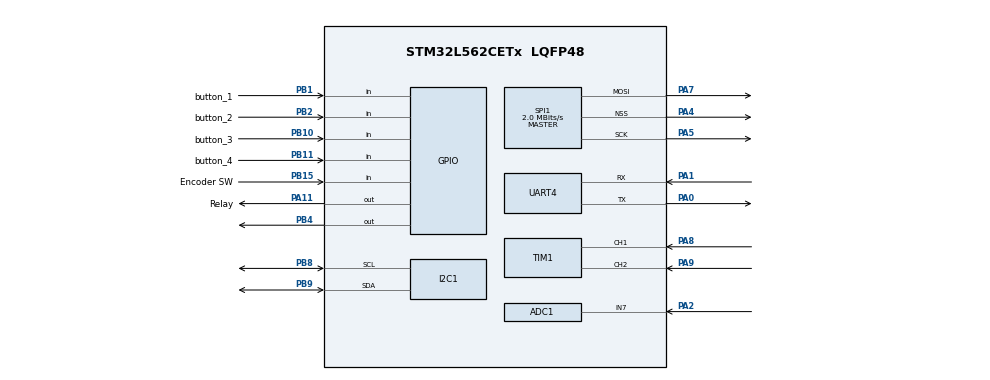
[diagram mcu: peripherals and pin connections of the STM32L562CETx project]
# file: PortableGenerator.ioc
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ADC1.Channel-2\#ChannelRegularConversion=ADC_CHANNEL_7
ADC1.ContinuousConvMode=ENABLE
ADC1.NbrOfConversion=1
ADC1.NbrOfConversionFlag=1
ADC1.OffsetNumber-2\#ChannelRegularConversion=ADC_OFFSET_NONE
ADC1.Overrun=ADC_OVR_DATA_OVERWRITTEN
ADC1.Rank-2\#ChannelRegularConversion=1
ADC1.SamplingTime-2\#ChannelRegularConversion=ADC_SAMPLETIME_2CYCLES_5
ADC1.master=1
Mcu.Family=STM32L5
Mcu.Name=STM32L562CETx
Mcu.Package=LQFP48
NVIC.ADC1_2_IRQn=true\:0\:0\:false\:false\:true\:true\:true\:true
NVIC.PriorityGroup=NVIC_PRIORITYGROUP_3
PA0.Mode=Asynchronous
PA0.Signal=UART4_TX
PA1.Mode=Asynchronous
PA1.Signal=UART4_RX
PA11.GPIO_Label=Relay
PA11.Signal=GPIO_Output
PA13\ (JTMS/SWDIO).Mode=JTAG_4_pins
PA13\ (JTMS/SWDIO).Signal=DEBUG_JTMS-SWDIO
PA14\ (JTCK/SWCLK).Mode=JTAG_4_pins
PA14\ (JTCK/SWCLK).Signal=DEBUG_JTCK-SWCLK
PA15\ (JTDI).Mode=JTAG_4_pins
PA15\ (JTDI).Signal=DEBUG_JTDI
PA2.Signal=ADCx_IN7
PA4.Mode=NSS_Signal_Hard_Output
PA4.Signal=SPI1_NSS
PA5.Mode=TX_Only_Simplex_Unidirect_Master
PA5.Signal=SPI1_SCK
PA7.Mode=TX_Only_Simplex_Unidirect_Master
PA7.Signal=SPI1_MOSI
PA8.Signal=S_TIM1_CH1
PA9.Signal=S_TIM1_CH2
PB1.GPIO_Label=button_1
PB1.Signal=GPIO_Input
PB10.GPIO_Label=button_3
PB10.Signal=GPIO_Input
PB11.GPIO_Label=button_4
PB11.Signal=GPIO_Input
PB15.GPIO_Label=Encoder SW
PB15.Signal=GPIO_Input
PB2.GPIO_Label=button_2
PB2.Signal=GPIO_Input
PB3\ (JTDO/TRACESWO).Mode=JTAG_4_pins
PB3\ (JTDO/TRACESWO).Signal=DEBUG_JTDO-SWO
PB4\ (NJTRST).Signal=GPIO_Output
PB8.Mode=I2C
PB8.Signal=I2C1_SCL
PB9.Mode=I2C
PB9.Signal=I2C1_SDA
PH0-OSC_IN\ (PH0).Mode=HSE-External-Oscillator
PH0-OSC_IN\ (PH0).Signal=RCC_OSC_IN
PH1-OSC_OUT\ (PH1).Mode=HSE-External-Oscillator
PH1-OSC_OUT\ (PH1).Signal=RCC_OSC_OUT
ProjectManager.HeapSize=0x200
ProjectManager.StackSize=0x400
ProjectManager.TargetToolchain=STM32CubeIDE
RCC.ADCFreq_Value=32000000
RCC.HSE_VALUE=16000000
RCC.HSI48_VALUE=48000000
RCC.HSI_VALUE=16000000
RCC.LSE_VALUE=32768
RCC.MSI_VALUE=4000000
RCC.PLLSAI1N=16
RCC.USBFreq_Value=32000000
RCC.VCOOutputFreq_Value=32000000
SH.ADCx_IN7.0=ADC1_IN7,IN7-Single-Ended
SH.S_TIM1_CH1.0=TIM1_CH1,Encoder_Interface
SH.S_TIM1_CH2.0=TIM1_CH2,Encoder_Interface
SPI1.CLKPolarity=SPI_POLARITY_HIGH
SPI1.CalculateBaudRate=2.0 MBits/s
SPI1.DataSize=SPI_DATASIZE_16BIT
SPI1.Direction=SPI_DIRECTION_2LINES
SPI1.Mode=SPI_MODE_MASTER
SPI1.VirtualNSS=VM_NSSHARD
SPI1.VirtualType=VM_MASTER
TIM1.EncoderMode=TIM_ENCODERMODE_TI12
TIM1.IC1Polarity=TIM_ICPOLARITY_FALLING
TIM1.IC2Polarity=TIM_ICPOLARITY_FALLING
board=custom

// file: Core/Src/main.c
/* USER CODE BEGIN Header */
/**
 ******************************************************************************
 * @file           : main.c
 * @brief          : Main program body
 ******************************************************************************
 * @attention
 *
 * Copyright (c) 2023 STMicroelectronics.
 * All rights reserved.
 *
 * This software is licensed under terms that can be found in the LICENSE file
 * in the root directory of this software component.
 * If no LICENSE file comes with this software, it is provided AS-IS.
 *
 ******************************************************************************
 */
/* USER CODE END Header */
#include "main.h"

/* USER CODE BEGIN Includes */
#include <string.h>
#include <stdio.h>
#include <stdint.h>
#include <math.h>
#include "liquidcrystal_i2c.h"
#include "AD9833.h"
#include "TPL0102.h"
/* USER CODE END Includes */

ADC_HandleTypeDef hadc1;

I2C_HandleTypeDef hi2c1;

SPI_HandleTypeDef hspi1;

TIM_HandleTypeDef htim1;

UART_HandleTypeDef huart4;

/* USER CODE BEGIN PV */

// Impedance switch state
uint8_t imp_currentstate = 0; // Track state of current impedance output mode (0 = 50 ohm , 1 = HighZ )

// Rotary encoder
uint32_t encoderValueBase = 0; // Track state of rotary encoder
uint32_t encoderValueConverted = 0; // In case rotary encoder increases/decreases by any other value than 1
uint32_t encoderValueAmplitude; //Tracking state of rotary encoder for amplitude adjustments
uint32_t encoderValueFrequency; // Tracking state of rotary encoder for frequency adjustments
int16_t encoderValueOffset; // Tracking state of rotary encoder for offset adjustments

// Rotary encoder pushbutton
// Impedance switch state
uint8_t re_currentstate = 0; // Track state of current setting (Amplitude, offset, frequency)

// AD9833 DDS

uint8_t wv_currentstate = 0; // Track state of current waveform (0 = SINE, 1 = TRIANGLE, 2= SQUARE)

// Digital potentiometer
uint8_t res0 = 128; // Resistance for channel 0 (offset adjustment)
uint8_t res1 = 128; // Resistance for channel 1 (amplitude adjustment)

/* USER CODE END PV */

void SystemClock_Config(void);
static void MX_GPIO_Init(void);
static void MX_TIM1_Init(void);
static void MX_I2C1_Init(void);
static void MX_UART4_Init(void);
static void MX_SPI1_Init(void);
static void MX_ADC1_Init(void);

/* USER CODE BEGIN 0 */

// ADC
static volatile uint16_t adc_value = 0;
float battery_voltage;

	void HAL_ADC_ConvCpltCallback(ADC_HandleTypeDef* hadc)
	{
		adc_value = HAL_ADC_GetValue(&hadc1);
	}

	float adc_voltage(int adc_value)
	{
		float reference = 3.0;
		float adc_voltage = (adc_value/4095)*reference;
		return adc_voltage;
	}

// Rotary encoder

	void HAL_TIM_IC_CaptureCallback(TIM_HandleTypeDef *htim)
	{
		encoderValueBase = __HAL_TIM_GET_COUNTER(&htim1);
	}

// Impedance switch toggle state function
	void ImpChangeState(void)
	{
		imp_currentstate = 1-imp_currentstate;

		if (imp_currentstate == 0)
				{
					HD44780_SetCursor(11,1);
					HD44780_PrintStr("M:HighZ");
				}
				else
				{
					HD44780_SetCursor(13,1);
					HD44780_PrintStr("M:50Ω");
				}
	}

	// Waveform toggle switch  state function
	void WaveformChangeState(void)
	{
		wv_currentstate = (wv_currentstate+1)% 3;

		switch(wv_currentstate)
		{
		case 0:
			AD9833_SetWaveform(AD9833_WAVEFORM_SINE);
			HD44780_SetCursor(0,1);
			HD44780_PrintStr("SINE");
			break;

		case 1:
			AD9833_SetWaveform(AD9833_WAVEFORM_TRIANGLE);
			HD44780_SetCursor(0,1);
			HD44780_PrintStr("TRIANGLE");
			break;
		case 2:
			AD9833_SetWaveform(AD9833_WAVEFORM_SQUARE);
			HD44780_SetCursor(0,1);
			HD44780_PrintStr("SQUARE");
			break;

		}
	}

	// Amplitude adjustment

	// Offset adjustment

	// Rotary encoder pushbutton toggle switch function

/* USER CODE END 0 */

int main(void)
{

  /* MCU Configuration--------------------------------------------------------*/

  /* Reset of all peripherals, Initializes the Flash interface and the Systick. */
  HAL_Init();

  /* Configure the system clock */
  SystemClock_Config();

  /* Initialize all configured peripherals */
  MX_GPIO_Init();
  MX_TIM1_Init();
  MX_I2C1_Init();
  MX_UART4_Init();
  MX_SPI1_Init();
  MX_ADC1_Init();
  /* USER CODE BEGIN 2 */

  // LCD Display initialization
  HD44780_Init(2);

  // Rotary encoder initialization
  HAL_TIM_Encoder_Start_IT(&htim1, TIM_CHANNEL_ALL);

  // ADC initialization
  HAL_ADC_Start_IT(&hadc1);

  // DDS initialization
  AD9833_Init();

  // Digital potentiometer initialization
  TPL0102_Init(&hi2c1);

	// Left and right button frequency, amplitude & offset
// Frequency

  /* USER CODE END 2 */

  /* Infinite loop */
  /* USER CODE BEGIN WHILE */
	while (1)
	{

	// Impedance switch
	if (HAL_GPIO_ReadPin(GPIOB, GPIO_PIN_11)==GPIO_PIN_RESET)
	{
		HAL_GPIO_TogglePin(GPIOA, GPIO_PIN_11);
		ImpChangeState();
		HAL_Delay(500);
	}

	// Battery voltage measurement & low battery warning
	battery_voltage = adc_voltage(adc_value);

	if (battery_voltage <= 3.5)
	{
		HAL_GPIO_WritePin(GPIOB, GPIO_PIN_4, GPIO_PIN_SET);

		HAL_Delay(1000);
	}

	else
	{
		HAL_GPIO_WritePin(GPIOB, GPIO_PIN_4, GPIO_PIN_RESET);
		HAL_Delay(1000);
	}

							// DDS
	// DDS frequency & waveform
	AD9833_SetFrequency(1000);

	// DDS waveform switch
	if(HAL_GPIO_ReadPin(GPIOB,GPIO_PIN_10)==GPIO_PIN_RESET)
	{
		WaveformChangeState();
		HAL_Delay(500);
	}

						// Digital potentiometer
	//Offset adjustment

	TPL0102_Write(&hi2c1, CHANNEL_0, res0);

	//Amplitude adjustment
	TPL0102_Write(&hi2c1, CHANNEL_1, res1);

						// Rotary encoder

    /* USER CODE END WHILE */

	}
}

void SystemClock_Config(void)
{
  RCC_OscInitTypeDef RCC_OscInitStruct = {0};
  RCC_ClkInitTypeDef RCC_ClkInitStruct = {0};

  /** Configure the main internal regulator output voltage
  */
  if (HAL_PWREx_ControlVoltageScaling(PWR_REGULATOR_VOLTAGE_SCALE2) != HAL_OK)
  {
    Error_Handler();
  }

  /** Initializes the RCC Oscillators according to the specified parameters
  * in the RCC_OscInitTypeDef structure.
  */
  RCC_OscInitStruct.OscillatorType = RCC_OSCILLATORTYPE_MSI;
  RCC_OscInitStruct.MSIState = RCC_MSI_ON;
  RCC_OscInitStruct.MSICalibrationValue = RCC_MSICALIBRATION_DEFAULT;
  RCC_OscInitStruct.MSIClockRange = RCC_MSIRANGE_6;
  RCC_OscInitStruct.PLL.PLLState = RCC_PLL_NONE;
  if (HAL_RCC_OscConfig(&RCC_OscInitStruct) != HAL_OK)
  {
    Error_Handler();
  }

  /** Initializes the CPU, AHB and APB buses clocks
  */
  RCC_ClkInitStruct.ClockType = RCC_CLOCKTYPE_HCLK|RCC_CLOCKTYPE_SYSCLK
                              |RCC_CLOCKTYPE_PCLK1|RCC_CLOCKTYPE_PCLK2;
  RCC_ClkInitStruct.SYSCLKSource = RCC_SYSCLKSOURCE_MSI;
  RCC_ClkInitStruct.AHBCLKDivider = RCC_SYSCLK_DIV1;
  RCC_ClkInitStruct.APB1CLKDivider = RCC_HCLK_DIV1;
  RCC_ClkInitStruct.APB2CLKDivider = RCC_HCLK_DIV1;

  if (HAL_RCC_ClockConfig(&RCC_ClkInitStruct, FLASH_LATENCY_0) != HAL_OK)
  {
    Error_Handler();
  }
}

static void MX_ADC1_Init(void)
{

  ADC_MultiModeTypeDef multimode = {0};
  ADC_ChannelConfTypeDef sConfig = {0};

  /** Common config
  */
  hadc1.Instance = ADC1;
  hadc1.Init.ClockPrescaler = ADC_CLOCK_ASYNC_DIV1;
  hadc1.Init.Resolution = ADC_RESOLUTION_12B;
  hadc1.Init.DataAlign = ADC_DATAALIGN_RIGHT;
  hadc1.Init.ScanConvMode = ADC_SCAN_DISABLE;
  hadc1.Init.EOCSelection = ADC_EOC_SINGLE_CONV;
  hadc1.Init.LowPowerAutoWait = DISABLE;
  hadc1.Init.ContinuousConvMode = ENABLE;
  hadc1.Init.NbrOfConversion = 1;
  hadc1.Init.DiscontinuousConvMode = DISABLE;
  hadc1.Init.ExternalTrigConv = ADC_SOFTWARE_START;
  hadc1.Init.ExternalTrigConvEdge = ADC_EXTERNALTRIGCONVEDGE_NONE;
  hadc1.Init.DMAContinuousRequests = DISABLE;
  hadc1.Init.Overrun = ADC_OVR_DATA_OVERWRITTEN;
  hadc1.Init.OversamplingMode = DISABLE;
  if (HAL_ADC_Init(&hadc1) != HAL_OK)
  {
    Error_Handler();
  }

  /** Configure the ADC multi-mode
  */
  multimode.Mode = ADC_MODE_INDEPENDENT;
  if (HAL_ADCEx_MultiModeConfigChannel(&hadc1, &multimode) != HAL_OK)
  {
    Error_Handler();
  }

  /** Configure Regular Channel
  */
  sConfig.Channel = ADC_CHANNEL_7;
  sConfig.Rank = ADC_REGULAR_RANK_1;
  sConfig.SamplingTime = ADC_SAMPLETIME_2CYCLES_5;
  sConfig.SingleDiff = ADC_SINGLE_ENDED;
  sConfig.OffsetNumber = ADC_OFFSET_NONE;
  sConfig.Offset = 0;
  if (HAL_ADC_ConfigChannel(&hadc1, &sConfig) != HAL_OK)
  {
    Error_Handler();
  }

}

static void MX_I2C1_Init(void)
{

  hi2c1.Instance = I2C1;
  hi2c1.Init.Timing = 0x00000E14;
  hi2c1.Init.OwnAddress1 = 0;
  hi2c1.Init.AddressingMode = I2C_ADDRESSINGMODE_7BIT;
  hi2c1.Init.DualAddressMode = I2C_DUALADDRESS_DISABLE;
  hi2c1.Init.OwnAddress2 = 0;
  hi2c1.Init.OwnAddress2Masks = I2C_OA2_NOMASK;
  hi2c1.Init.GeneralCallMode = I2C_GENERALCALL_DISABLE;
  hi2c1.Init.NoStretchMode = I2C_NOSTRETCH_DISABLE;
  if (HAL_I2C_Init(&hi2c1) != HAL_OK)
  {
    Error_Handler();
  }

  /** Configure Analogue filter
  */
  if (HAL_I2CEx_ConfigAnalogFilter(&hi2c1, I2C_ANALOGFILTER_ENABLE) != HAL_OK)
  {
    Error_Handler();
  }

  /** Configure Digital filter
  */
  if (HAL_I2CEx_ConfigDigitalFilter(&hi2c1, 0) != HAL_OK)
  {
    Error_Handler();
  }

}

static void MX_SPI1_Init(void)
{

  /* SPI1 parameter configuration*/
  hspi1.Instance = SPI1;
  hspi1.Init.Mode = SPI_MODE_MASTER;
  hspi1.Init.Direction = SPI_DIRECTION_2LINES;
  hspi1.Init.DataSize = SPI_DATASIZE_16BIT;
  hspi1.Init.CLKPolarity = SPI_POLARITY_HIGH;
  hspi1.Init.CLKPhase = SPI_PHASE_1EDGE;
  hspi1.Init.NSS = SPI_NSS_HARD_OUTPUT;
  hspi1.Init.BaudRatePrescaler = SPI_BAUDRATEPRESCALER_2;
  hspi1.Init.FirstBit = SPI_FIRSTBIT_MSB;
  hspi1.Init.TIMode = SPI_TIMODE_DISABLE;
  hspi1.Init.CRCCalculation = SPI_CRCCALCULATION_DISABLE;
  hspi1.Init.CRCPolynomial = 7;
  hspi1.Init.CRCLength = SPI_CRC_LENGTH_DATASIZE;
  hspi1.Init.NSSPMode = SPI_NSS_PULSE_ENABLE;
  if (HAL_SPI_Init(&hspi1) != HAL_OK)
  {
    Error_Handler();
  }

}

static void MX_TIM1_Init(void)
{

  TIM_Encoder_InitTypeDef sConfig = {0};
  TIM_MasterConfigTypeDef sMasterConfig = {0};

  htim1.Instance = TIM1;
  htim1.Init.Prescaler = 0;
  htim1.Init.CounterMode = TIM_COUNTERMODE_UP;
  htim1.Init.Period = 65535;
  htim1.Init.ClockDivision = TIM_CLOCKDIVISION_DIV1;
  htim1.Init.RepetitionCounter = 0;
  htim1.Init.AutoReloadPreload = TIM_AUTORELOAD_PRELOAD_DISABLE;
  sConfig.EncoderMode = TIM_ENCODERMODE_TI12;
  sConfig.IC1Polarity = TIM_ICPOLARITY_FALLING;
  sConfig.IC1Selection = TIM_ICSELECTION_DIRECTTI;
  sConfig.IC1Prescaler = TIM_ICPSC_DIV1;
  sConfig.IC1Filter = 0;
  sConfig.IC2Polarity = TIM_ICPOLARITY_FALLING;
  sConfig.IC2Selection = TIM_ICSELECTION_DIRECTTI;
  sConfig.IC2Prescaler = TIM_ICPSC_DIV1;
  sConfig.IC2Filter = 0;
  if (HAL_TIM_Encoder_Init(&htim1, &sConfig) != HAL_OK)
  {
    Error_Handler();
  }
  sMasterConfig.MasterOutputTrigger = TIM_TRGO_RESET;
  sMasterConfig.MasterOutputTrigger2 = TIM_TRGO2_RESET;
  sMasterConfig.MasterSlaveMode = TIM_MASTERSLAVEMODE_DISABLE;
  if (HAL_TIMEx_MasterConfigSynchronization(&htim1, &sMasterConfig) != HAL_OK)
  {
    Error_Handler();
  }

}

static void MX_UART4_Init(void)
{

  huart4.Instance = UART4;
  huart4.Init.BaudRate = 115200;
  huart4.Init.WordLength = UART_WORDLENGTH_8B;
  huart4.Init.StopBits = UART_STOPBITS_1;
  huart4.Init.Parity = UART_PARITY_NONE;
  huart4.Init.Mode = UART_MODE_TX_RX;
  huart4.Init.HwFlowCtl = UART_HWCONTROL_NONE;
  huart4.Init.OverSampling = UART_OVERSAMPLING_16;
  huart4.Init.OneBitSampling = UART_ONE_BIT_SAMPLE_DISABLE;
  huart4.Init.ClockPrescaler = UART_PRESCALER_DIV1;
  huart4.AdvancedInit.AdvFeatureInit = UART_ADVFEATURE_NO_INIT;
  if (HAL_UART_Init(&huart4) != HAL_OK)
  {
    Error_Handler();
  }
  if (HAL_UARTEx_SetTxFifoThreshold(&huart4, UART_TXFIFO_THRESHOLD_1_8) != HAL_OK)
  {
    Error_Handler();
  }
  if (HAL_UARTEx_SetRxFifoThreshold(&huart4, UART_RXFIFO_THRESHOLD_1_8) != HAL_OK)
  {
    Error_Handler();
  }
  if (HAL_UARTEx_DisableFifoMode(&huart4) != HAL_OK)
  {
    Error_Handler();
  }

}

static void MX_GPIO_Init(void)
{
  GPIO_InitTypeDef GPIO_InitStruct = {0};

  /* GPIO Ports Clock Enable */
  __HAL_RCC_GPIOH_CLK_ENABLE();
  __HAL_RCC_GPIOA_CLK_ENABLE();
  __HAL_RCC_GPIOB_CLK_ENABLE();

  /*Configure GPIO pin Output Level */
  HAL_GPIO_WritePin(Relay_GPIO_Port, Relay_Pin, GPIO_PIN_RESET);

  /*Configure GPIO pin Output Level */
  HAL_GPIO_WritePin(GPIOB, GPIO_PIN_4, GPIO_PIN_RESET);

  /*Configure GPIO pins : button_1_Pin button_2_Pin button_3_Pin button_4_Pin
                           Encoder_SW_Pin */
  GPIO_InitStruct.Pin = button_1_Pin|button_2_Pin|button_3_Pin|button_4_Pin
                          |Encoder_SW_Pin;
  GPIO_InitStruct.Mode = GPIO_MODE_INPUT;
  GPIO_InitStruct.Pull = GPIO_NOPULL;
  HAL_GPIO_Init(GPIOB, &GPIO_InitStruct);

  /*Configure GPIO pin : Relay_Pin */
  GPIO_InitStruct.Pin = Relay_Pin;
  GPIO_InitStruct.Mode = GPIO_MODE_OUTPUT_PP;
  GPIO_InitStruct.Pull = GPIO_NOPULL;
  GPIO_InitStruct.Speed = GPIO_SPEED_FREQ_LOW;
  HAL_GPIO_Init(Relay_GPIO_Port, &GPIO_InitStruct);

  /*Configure GPIO pin : PB4 */
  GPIO_InitStruct.Pin = GPIO_PIN_4;
  GPIO_InitStruct.Mode = GPIO_MODE_OUTPUT_PP;
  GPIO_InitStruct.Pull = GPIO_NOPULL;
  GPIO_InitStruct.Speed = GPIO_SPEED_FREQ_LOW;
  HAL_GPIO_Init(GPIOB, &GPIO_InitStruct);

}

void Error_Handler(void)
{
	__disable_irq();
	while (1)
	{
	}
}
